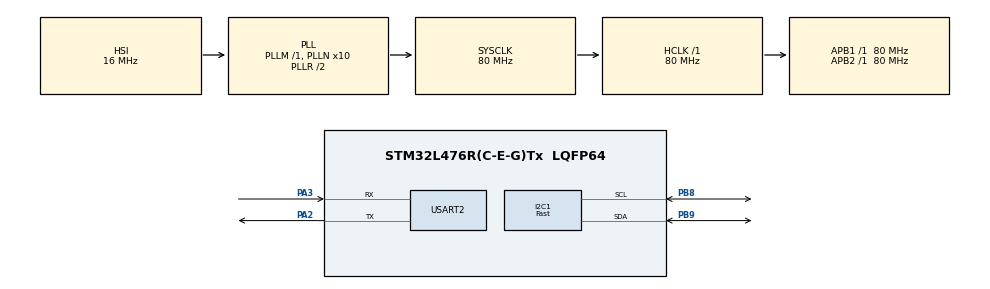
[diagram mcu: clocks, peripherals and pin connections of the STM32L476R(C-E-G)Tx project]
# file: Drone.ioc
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I2C1.I2C_Speed_Mode=I2C_Fast
I2C1.Timing=0x00702991
Mcu.Family=STM32L4
Mcu.Name=STM32L476R(C-E-G)Tx
Mcu.Package=LQFP64
NVIC.PriorityGroup=NVIC_PRIORITYGROUP_4
PA13\ (JTMS-SWDIO).GPIO_Label=TMS
PA13\ (JTMS-SWDIO).Mode=Serial_Wire
PA13\ (JTMS-SWDIO).Signal=SYS_JTMS-SWDIO
PA14\ (JTCK-SWCLK).GPIO_Label=TCK
PA14\ (JTCK-SWCLK).Mode=Serial_Wire
PA14\ (JTCK-SWCLK).Signal=SYS_JTCK-SWCLK
PA2.Mode=Asynchronous
PA2.Signal=USART2_TX
PA3.Mode=Asynchronous
PA3.Signal=USART2_RX
PB3\ (JTDO-TRACESWO).GPIO_Label=SWO
PB3\ (JTDO-TRACESWO).Signal=SYS_JTDO-SWO
PB8.Mode=I2C
PB8.Signal=I2C1_SCL
PB9.Mode=I2C
PB9.Signal=I2C1_SDA
PC14-OSC32_IN\ (PC14).Mode=LSE-External-Oscillator
PC14-OSC32_IN\ (PC14).Signal=RCC_OSC32_IN
PC15-OSC32_OUT\ (PC15).Mode=LSE-External-Oscillator
PC15-OSC32_OUT\ (PC15).Signal=RCC_OSC32_OUT
PH0-OSC_IN\ (PH0).Signal=RCC_OSC_IN
PH1-OSC_OUT\ (PH1).Signal=RCC_OSC_OUT
ProjectManager.HeapSize=0x200
ProjectManager.StackSize=0x400
ProjectManager.TargetToolchain=STM32CubeIDE
RCC.ADCFreq_Value=64000000
RCC.AHBFreq_Value=80000000
RCC.APB1Freq_Value=80000000
RCC.APB1TimFreq_Value=80000000
RCC.APB2Freq_Value=80000000
RCC.APB2TimFreq_Value=80000000
RCC.CortexFreq_Value=80000000
RCC.HCLKFreq_Value=80000000
RCC.HSE_VALUE=8000000
RCC.HSI_VALUE=16000000
RCC.MSI_VALUE=4000000
RCC.PLLN=10
RCC.PLLSourceVirtual=RCC_PLLSOURCE_HSI
RCC.PREFETCH_ENABLE=1
RCC.SYSCLKFreq_VALUE=80000000
RCC.SYSCLKSource=RCC_SYSCLKSOURCE_PLLCLK
RCC.USBFreq_Value=64000000
RCC.VCOOutputFreq_Value=160000000
TIM2.AutoReloadPreload=TIM_AUTORELOAD_PRELOAD_ENABLE
TIM2.ClockDivision=TIM_CLOCKDIVISION_DIV4
TIM2.Prescaler=9999
USART2.VirtualMode-Asynchronous=VM_ASYNC
VP_TIM2_VS_ClockSourceINT.Mode=Internal
board=NUCLEO-L476RG

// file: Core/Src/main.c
/* USER CODE BEGIN Header */
/**
  ******************************************************************************
  * @file           : main.c
  * @brief          : Main program body
  ******************************************************************************
  * @attention
  *
  * Copyright (c) 2023 STMicroelectronics.
  * All rights reserved.
  *
  * This software is licensed under terms that can be found in the LICENSE file
  * in the root directory of this software component.
  * If no LICENSE file comes with this software, it is provided AS-IS.
  *
  ******************************************************************************
  */
/* USER CODE END Header */
#include "main.h"

/* USER CODE BEGIN Includes */
#include <string.h>
#include <stdio.h>
#include <math.h>
/* USER CODE END Includes */

/* USER CODE BEGIN PM */
#define MPU_6050_ADDR (0x68	<< 1)// I2C Address shifted 1 bit to the left per HAL I2C 8 bit requirement
#define POWER_CONFIG_ADDR 0x6B   // Power config for reset and clock select
#define GYRO_CONFIG_ADDR 0x1B    // Gyroscope config register
#define ACCEL_CONFIG_ADDR 0x1C   // Accelerometer config register
#define GYRO_ADDR 0x43			 // Gyroscope Data starting register 0x43 - 0x48
#define ACCEL_ADDR 0x3B			 // Accelerometer Data starting register 0x3B - 0x40
#define I2C_DELAY 50			 // I2C Delay 50ms
/* USER CODE END PM */

I2C_HandleTypeDef hi2c1;

TIM_HandleTypeDef htim2;

UART_HandleTypeDef huart2;

/* USER CODE BEGIN PV */
uint8_t buf[6];
float AccX, AccY, AccZ;
float GyroX, GyroY, GyroZ;
float accAngleX, accAngleY, gyroAngleX, gyroAngleY, gyroAngleZ;
float roll, pitch, yaw;
float AccErrorX, AccErrorY, GyroErrorX, GyroErrorY, GyroErrorZ;
float elapsedTime, currentTime, previousTime;
/* USER CODE END PV */

void SystemClock_Config(void);
static void MX_GPIO_Init(void);
static void MX_I2C1_Init(void);
static void MX_USART2_UART_Init(void);
static void MX_TIM2_Init(void);
/* USER CODE BEGIN PFP */
void MPU_6050_Init(void);
void MPU_Get_Accel(void);
void MPU_Get_Gyro(void);
void Get_Pos(void);
/* USER CODE END PFP */

int main(void)
{

  /* MCU Configuration--------------------------------------------------------*/

  /* Reset of all peripherals, Initializes the Flash interface and the Systick. */
  HAL_Init();

  /* Configure the system clock */
  SystemClock_Config();

  /* Initialize all configured peripherals */
  MX_GPIO_Init();
  MX_I2C1_Init();
  MX_USART2_UART_Init();
  MX_TIM2_Init();
  /* USER CODE BEGIN 2 */
  MPU_6050_Init();
  TIM2->CR1 |= TIM_CR1_CEN;
  float sec = 0;
  /* USER CODE END 2 */

  /* Infinite loop */
  /* USER CODE BEGIN WHILE */
  while (1)
  {
	//uint8_t data[256];
	//Get_Pos();
	///sprintf((char*)data, "Roll: %f Pitch: %f Yaw: %f\n", roll, pitch, yaw);
	//HAL_UART_Transmit(&huart2, data, strlen((char*)data), I2C_DELAY);

	HAL_I2C_Mem_Read(&hi2c1, MPU_6050_ADDR, ACCEL_ADDR, I2C_MEMADD_SIZE_8BIT, buf, 6, I2C_DELAY);

	AccX = ((int16_t)buf[0] << 8) | (buf[1]);
	AccY = ((int16_t)buf[2] << 8) | (buf[3]);
	AccZ = ((int16_t)buf[4] << 8) | (buf[5]);

	AccX = AccX / 8192.0;
	AccY = AccY / 8192.0;
	AccZ = AccZ / 8192.0;

	// Calculating Roll and Pitch from the accelerometer data
	accAngleX = (atan(AccY / sqrt(pow(AccX, 2) + pow(AccZ, 2))) * 180 / M_PI) - 0.58; // AccErrorX ~(0.58) See the calculate_IMU_error()custom function for more details
	accAngleY = (atan(-1 * AccX / sqrt(pow(AccY, 2) + pow(AccZ, 2))) * 180 / M_PI) + 1.58; // AccErrorY ~(-1.58)

	// === Read gyroscope data === //
	previousTime = currentTime;        // Previous time is stored before the actual time read
	currentTime = TIM2->CNT;       // Current time actual time read
	currentTime = currentTime / 8;
	elapsedTime = (currentTime - previousTime) / 1000; // Divide by 1000 to get seconds

	HAL_I2C_Mem_Read(&hi2c1, MPU_6050_ADDR, GYRO_ADDR, I2C_MEMADD_SIZE_8BIT, buf, 6, I2C_DELAY);
	GyroX = ((int16_t)buf[0] << 8) | (buf[1]);
	GyroY = ((int16_t)buf[2] << 8) | (buf[3]);
	GyroZ = ((int16_t)buf[4] << 8) | (buf[5]);

	GyroX = GyroX / 65.5;
	GyroY = GyroY / 65.5;
	GyroZ = GyroZ / 65.5;

	// Correct the outputs with the calculated error values
	GyroX = GyroX + 0.56; // GyroErrorX ~(-0.56)
	GyroY = GyroY - 2; // GyroErrorY ~(2)
	GyroZ = GyroZ + 0.79; // GyroErrorZ ~ (-0.8)

	// Currently the raw values are in degrees per seconds, deg/s, so we need to multiply by sendonds (s) to get the angle in degrees
	gyroAngleX = gyroAngleX + GyroX * elapsedTime; // deg/s * s = deg
	gyroAngleY = gyroAngleY + GyroY * elapsedTime;
	yaw =  yaw + GyroZ * elapsedTime;
	// Complementary filter - combine acceleromter and gyro angle values
	roll = 0.96 * gyroAngleX + 0.04 * accAngleX;
	pitch = 0.96 * gyroAngleY + 0.04 * accAngleY;

	uint8_t data[256];
	sprintf((char*)data, "Roll: %f Pitch: %f Yaw: %f\n", roll, pitch, yaw);
	HAL_UART_Transmit(&huart2, data, strlen((char*)data), I2C_DELAY);

	HAL_Delay(.5 * 1000); //(sec * 1000)
    /* USER CODE END WHILE */

  }
}

void SystemClock_Config(void)
{
  RCC_OscInitTypeDef RCC_OscInitStruct = {0};
  RCC_ClkInitTypeDef RCC_ClkInitStruct = {0};

  /** Configure the main internal regulator output voltage
  */
  if (HAL_PWREx_ControlVoltageScaling(PWR_REGULATOR_VOLTAGE_SCALE1) != HAL_OK)
  {
    Error_Handler();
  }

  /** Initializes the RCC Oscillators according to the specified parameters
  * in the RCC_OscInitTypeDef structure.
  */
  RCC_OscInitStruct.OscillatorType = RCC_OSCILLATORTYPE_HSI;
  RCC_OscInitStruct.HSIState = RCC_HSI_ON;
  RCC_OscInitStruct.HSICalibrationValue = RCC_HSICALIBRATION_DEFAULT;
  RCC_OscInitStruct.PLL.PLLState = RCC_PLL_ON;
  RCC_OscInitStruct.PLL.PLLSource = RCC_PLLSOURCE_HSI;
  RCC_OscInitStruct.PLL.PLLM = 1;
  RCC_OscInitStruct.PLL.PLLN = 10;
  RCC_OscInitStruct.PLL.PLLP = RCC_PLLP_DIV7;
  RCC_OscInitStruct.PLL.PLLQ = RCC_PLLQ_DIV2;
  RCC_OscInitStruct.PLL.PLLR = RCC_PLLR_DIV2;
  if (HAL_RCC_OscConfig(&RCC_OscInitStruct) != HAL_OK)
  {
    Error_Handler();
  }

  /** Initializes the CPU, AHB and APB buses clocks
  */
  RCC_ClkInitStruct.ClockType = RCC_CLOCKTYPE_HCLK|RCC_CLOCKTYPE_SYSCLK
                              |RCC_CLOCKTYPE_PCLK1|RCC_CLOCKTYPE_PCLK2;
  RCC_ClkInitStruct.SYSCLKSource = RCC_SYSCLKSOURCE_PLLCLK;
  RCC_ClkInitStruct.AHBCLKDivider = RCC_SYSCLK_DIV1;
  RCC_ClkInitStruct.APB1CLKDivider = RCC_HCLK_DIV1;
  RCC_ClkInitStruct.APB2CLKDivider = RCC_HCLK_DIV1;

  if (HAL_RCC_ClockConfig(&RCC_ClkInitStruct, FLASH_LATENCY_4) != HAL_OK)
  {
    Error_Handler();
  }
}

static void MX_I2C1_Init(void)
{

  hi2c1.Instance = I2C1;
  hi2c1.Init.Timing = 0x00702991;
  hi2c1.Init.OwnAddress1 = 0;
  hi2c1.Init.AddressingMode = I2C_ADDRESSINGMODE_7BIT;
  hi2c1.Init.DualAddressMode = I2C_DUALADDRESS_DISABLE;
  hi2c1.Init.OwnAddress2 = 0;
  hi2c1.Init.OwnAddress2Masks = I2C_OA2_NOMASK;
  hi2c1.Init.GeneralCallMode = I2C_GENERALCALL_DISABLE;
  hi2c1.Init.NoStretchMode = I2C_NOSTRETCH_DISABLE;
  if (HAL_I2C_Init(&hi2c1) != HAL_OK)
  {
    Error_Handler();
  }

  /** Configure Analogue filter
  */
  if (HAL_I2CEx_ConfigAnalogFilter(&hi2c1, I2C_ANALOGFILTER_ENABLE) != HAL_OK)
  {
    Error_Handler();
  }

  /** Configure Digital filter
  */
  if (HAL_I2CEx_ConfigDigitalFilter(&hi2c1, 0) != HAL_OK)
  {
    Error_Handler();
  }

}

static void MX_TIM2_Init(void)
{

  TIM_ClockConfigTypeDef sClockSourceConfig = {0};
  TIM_MasterConfigTypeDef sMasterConfig = {0};

  htim2.Instance = TIM2;
  htim2.Init.Prescaler = 9999;
  htim2.Init.CounterMode = TIM_COUNTERMODE_UP;
  htim2.Init.Period = 4294967295;
  htim2.Init.ClockDivision = TIM_CLOCKDIVISION_DIV4;
  htim2.Init.AutoReloadPreload = TIM_AUTORELOAD_PRELOAD_ENABLE;
  if (HAL_TIM_Base_Init(&htim2) != HAL_OK)
  {
    Error_Handler();
  }
  sClockSourceConfig.ClockSource = TIM_CLOCKSOURCE_INTERNAL;
  if (HAL_TIM_ConfigClockSource(&htim2, &sClockSourceConfig) != HAL_OK)
  {
    Error_Handler();
  }
  sMasterConfig.MasterOutputTrigger = TIM_TRGO_RESET;
  sMasterConfig.MasterSlaveMode = TIM_MASTERSLAVEMODE_DISABLE;
  if (HAL_TIMEx_MasterConfigSynchronization(&htim2, &sMasterConfig) != HAL_OK)
  {
    Error_Handler();
  }

}

static void MX_USART2_UART_Init(void)
{

  huart2.Instance = USART2;
  huart2.Init.BaudRate = 115200;
  huart2.Init.WordLength = UART_WORDLENGTH_8B;
  huart2.Init.StopBits = UART_STOPBITS_1;
  huart2.Init.Parity = UART_PARITY_NONE;
  huart2.Init.Mode = UART_MODE_TX_RX;
  huart2.Init.HwFlowCtl = UART_HWCONTROL_NONE;
  huart2.Init.OverSampling = UART_OVERSAMPLING_16;
  huart2.Init.OneBitSampling = UART_ONE_BIT_SAMPLE_DISABLE;
  huart2.AdvancedInit.AdvFeatureInit = UART_ADVFEATURE_NO_INIT;
  if (HAL_UART_Init(&huart2) != HAL_OK)
  {
    Error_Handler();
  }

}

static void MX_GPIO_Init(void)
{

  /* GPIO Ports Clock Enable */
  __HAL_RCC_GPIOC_CLK_ENABLE();
  __HAL_RCC_GPIOH_CLK_ENABLE();
  __HAL_RCC_GPIOA_CLK_ENABLE();
  __HAL_RCC_GPIOB_CLK_ENABLE();

}

/* USER CODE BEGIN 4 */
void MPU_6050_Init(void)
{
	HAL_StatusTypeDef ret = HAL_ERROR;
	//uint8_t data = 0;
	//ret = HAL_I2C_Mem_Write(&hi2c1, MPU_ADDR, POWER_CONFIG_ADDR, I2C_MEMADD_SIZE_8BIT, &data, I2C_MEMADD_SIZE_8BIT, I2C_DELAY);
	uint8_t data = 0x00;
	ret = HAL_I2C_Mem_Write(&hi2c1, MPU_6050_ADDR, POWER_CONFIG_ADDR, I2C_MEMADD_SIZE_8BIT, &data, I2C_MEMADD_SIZE_8BIT, I2C_DELAY);
	if (ret != HAL_OK)
	{
		HAL_UART_Transmit(&huart2, (uint8_t*)"Error Initializing MPU_6050\n", strlen("Error Initializing MPU_6050\n"), I2C_DELAY);
	}
	else
	{
		data = 0x08;
		ret = HAL_I2C_Mem_Write(&hi2c1, MPU_6050_ADDR, GYRO_CONFIG_ADDR, I2C_MEMADD_SIZE_8BIT, &data, I2C_MEMADD_SIZE_8BIT, I2C_DELAY);
		if (ret != HAL_OK)
		{
			HAL_UART_Transmit(&huart2, (uint8_t*)"Error Initializing Gyro\n", strlen("Error Initializing Gyro\n"), I2C_DELAY);
		}
		else
		{
			ret = HAL_I2C_Mem_Write(&hi2c1, MPU_6050_ADDR, ACCEL_CONFIG_ADDR, I2C_MEMADD_SIZE_8BIT, &data, I2C_MEMADD_SIZE_8BIT, I2C_DELAY);
			if (ret != HAL_OK)
			{
				HAL_UART_Transmit(&huart2, (uint8_t*)"Error Initializing Accel\n", strlen("Error Initializing Accel\n"), I2C_DELAY);
			}
			else
			{
				HAL_UART_Transmit(&huart2, (uint8_t*)"Initialized MPU_6050!\n", strlen("Initialized MPU_6050!\n"), I2C_DELAY);
			}
		}
	}
	return;
}

void MPU_Get_Accel(void)
{
	HAL_StatusTypeDef ret = HAL_ERROR;
	int16_t accelX = 0;
	int16_t accelY = 0;
	int16_t accelZ = 0;

	ret = HAL_I2C_Mem_Read(&hi2c1, MPU_6050_ADDR, ACCEL_ADDR, I2C_MEMADD_SIZE_8BIT, buf, 6, I2C_DELAY);
	if (ret != HAL_OK)
	{
		HAL_UART_Transmit(&huart2, (uint8_t*)"Error Reading Accel\n", strlen("Error Reading Accel\n"), I2C_DELAY);
	}
	else
	{
		accelX = ((int16_t)buf[0] << 8) | (buf[1]);
		accelY = ((int16_t)buf[2] << 8) | (buf[3]);
		accelZ = ((int16_t)buf[4] << 8) | (buf[5]);

		accelX = accelX / 8192.0;
		accelY = accelY / 8192.0;
		accelZ = accelZ / 8192.0;

		char data[256];
		sprintf((char*)data, "Acell X: %d Y: %d Z: %d\t", accelX, accelY, accelZ);
		HAL_UART_Transmit(&huart2, data, strlen((char*)data), I2C_DELAY);
	}
	return;
}

void MPU_Get_Gyro(void)
{
	HAL_StatusTypeDef ret = HAL_ERROR;
	float gyroX = 0;
	float gyroY = 0;
	float gyroZ = 0;

	ret = HAL_I2C_Mem_Read(&hi2c1, MPU_6050_ADDR, GYRO_ADDR, I2C_MEMADD_SIZE_8BIT, buf, 6, I2C_DELAY);
	if (ret != HAL_OK)
	{
		HAL_UART_Transmit(&huart2, (uint8_t*)"Error Reading Gyro\n", strlen("Error Reading Gyro\n"), I2C_DELAY);
	}
	else
	{
		gyroX = ((int16_t)buf[0] << 8) | (buf[1]);
		gyroY = ((int16_t)buf[2] << 8) | (buf[3]);
		gyroZ = ((int16_t)buf[4] << 8) | (buf[5]);

		gyroX = gyroX / 65.5;
		gyroY = gyroY / 65.5;
		gyroZ = gyroZ / 65.5;

		char data[256];
		sprintf((char*)data, "Gyroscope X: %f Y: %f Z: %f\r\n", gyroX, gyroY, gyroZ);
		HAL_UART_Transmit(&huart2, data, strlen((char*)data), I2C_DELAY);
	}
	return;
}

void Get_Pos(void)
{
	float accAngleX, accAngleY;
	HAL_StatusTypeDef ret = HAL_ERROR;
	int16_t dAccX;
	int16_t dAccY;
	int16_t dAccZ;
	int16_t dGyroX;
	int16_t dGyroY;
	int16_t dGyroZ;

	ret = HAL_I2C_Mem_Read(&hi2c1, MPU_6050_ADDR, ACCEL_ADDR, I2C_MEMADD_SIZE_8BIT, buf, 6, I2C_DELAY);
	dAccX = ((int16_t)buf[0] << 8) | (buf[1]);
	dAccY = ((int16_t)buf[2] << 8) | (buf[3]);
	dAccZ = ((int16_t)buf[4] << 8) | (buf[5]);

	float AccX = dAccX / 8192.0;
	float AccY = dAccY / 8192.0;
	float AccZ = dAccZ / 8192.0;

	accAngleX = (atan(AccY / sqrt(pow(AccX, 2) + pow(AccZ, 2))) * 180 / M_PI) - 0.58; // AccErrorX ~(0.58) See the calculate_IMU_error()custom function for more details
	accAngleY = (atan(-1 * AccX / sqrt(pow(AccY, 2) + pow(AccZ, 2))) * 180 / M_PI) + 1.58; // AccErrorY ~(-1.58)

	previousTime = currentTime;        // Previous time is stored before the actual time read
	currentTime = TIM2->CNT;       // Current time actual time read
	currentTime = currentTime / 8;
	elapsedTime = (currentTime - previousTime) / 1000; // Divide by 1000 to get seconds

	ret = HAL_I2C_Mem_Read(&hi2c1, MPU_6050_ADDR, GYRO_ADDR, I2C_MEMADD_SIZE_8BIT, buf, 6, I2C_DELAY);
	dGyroX = ((int16_t)buf[0] << 8) | (buf[1]);
	dGyroY = ((int16_t)buf[2] << 8) | (buf[3]);
	dGyroZ = ((int16_t)buf[4] << 8) | (buf[5]);

	float GyroX = dGyroX / 65.5;
	float GyroY = dGyroY / 65.5;
	float GyroZ = dGyroZ / 65.5;

	GyroX = GyroX + 0.56; // GyroErrorX ~(-0.56)
	GyroY = GyroY - 2; // GyroErrorY ~(2)
	GyroZ = GyroZ + 0.79; // GyroErrorZ ~ (-0.8)

	// Currently the raw values are in degrees per seconds, deg/s, so we need to multiply by sendonds (s) to get the angle in degrees
	gyroAngleX = gyroAngleX + GyroX * elapsedTime; // deg/s * s = deg
	gyroAngleY = gyroAngleY + GyroY * elapsedTime;
	yaw =  yaw + GyroZ * elapsedTime;
	// Complementary filter - combine acceleromter and gyro angle values
	roll = 0.96 * gyroAngleX + 0.04 * accAngleX;
	pitch = 0.96 * gyroAngleY + 0.04 * accAngleY;

	char data[256];
	sprintf((char*)data, "Acell X: %f Y: %f Z: %f\nGyroscope X: %f Y: %f Z: %f\r\nMilli: %f\r\n", AccX, AccY, AccZ, GyroX, GyroY, GyroZ, elapsedTime);
	HAL_UART_Transmit(&huart2, data, strlen((char*)data), I2C_DELAY);

	return;
}

/* USER CODE END 4 */

void Error_Handler(void)
{
  __disable_irq();
  while (1)
  {
  }
}
